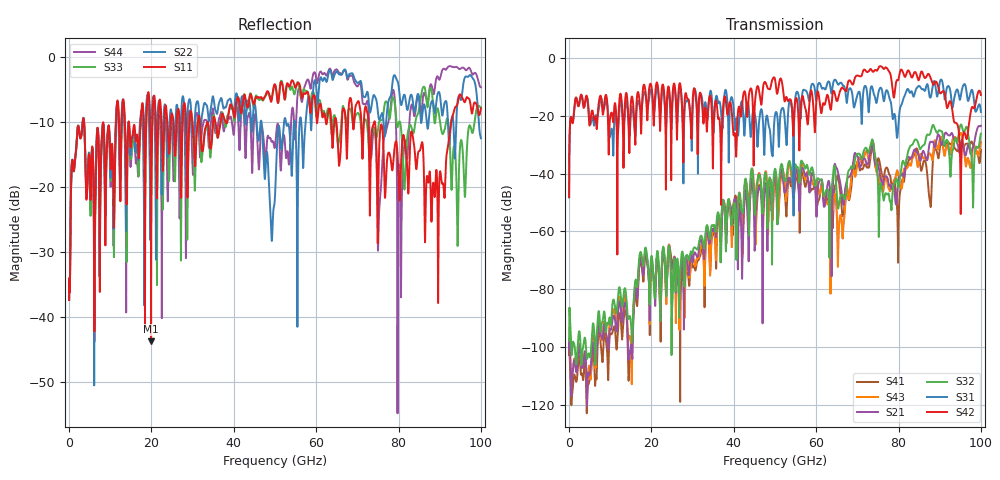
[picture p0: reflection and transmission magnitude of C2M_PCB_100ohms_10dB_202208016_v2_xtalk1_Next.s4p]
! Info: Touchstone file created by Circ.  Input file=Intel_C2M_200G_1p5in_202208016_staggered.circ
# Hz S RI R 50
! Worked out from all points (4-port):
!   10000 points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, 10 MHz to 100 GHz, reference 50 ohm
!   strongest paths, dB at 10 MHz, 25.01 GHz, 50.01 GHz, 75.01 GHz, 100 GHz:
!     S42: -48.1, -16.5, -7.3, -3.7, -12.7
!     S31: -48.2, -18.6, -19.6, -12.6, -18.6
!     S32: -97.8, -86.9, -38.3, -44.0, -26.1
!     S21: -98.9, -72.8, -41.0, -36.6, -23.4
!     S43: -98.9, -79.8, -39.8, -41.3, -29.0
!     S41: -99.6, -70.3, -42.3, -34.8, -31.7
!   lowest |S11| = -43.8 dB at 19.92 GHz (marker M1), VSWR 1.01, Z = 49.5 - j0.38 ohm
!   |S11| at or under -10 dB: start of sweep to 3.315 GHz; 3.641 GHz to 11.39 GHz (7.753 GHz wide, 103 % of centre); 74.27 GHz to 92.78 GHz (18.5 GHz wide, 22.2 % of centre)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
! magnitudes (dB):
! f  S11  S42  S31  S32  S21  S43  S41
! 10 MHz  -37.4  -48.1  -48.2  -97.8  -98.9  -98.9  -99.6
! 2.3 GHz  -10.7  -16.5  -16.5  -95.7  -100.5  -100.0  -103.9
! 19.92 GHz  -43.8  -9.1  -10.7  -69.1  -70.3  -70.8  -72.2
! 40.29 GHz  -8.8  -26.3  -24.9  -51.3  -48.6  -49.7  -47.9
! 85.69 GHz  -13.1  -4.6  -10.7  -30.6  -33.2  -33.6  -38.3
! 95.2 GHz  -5.9  -39.4  -12.4  -22.9  -29.1  -26.0  -29.2
! 100 GHz  -7.9  -12.7  -18.6  -26.1  -23.4  -29.0  -31.7
